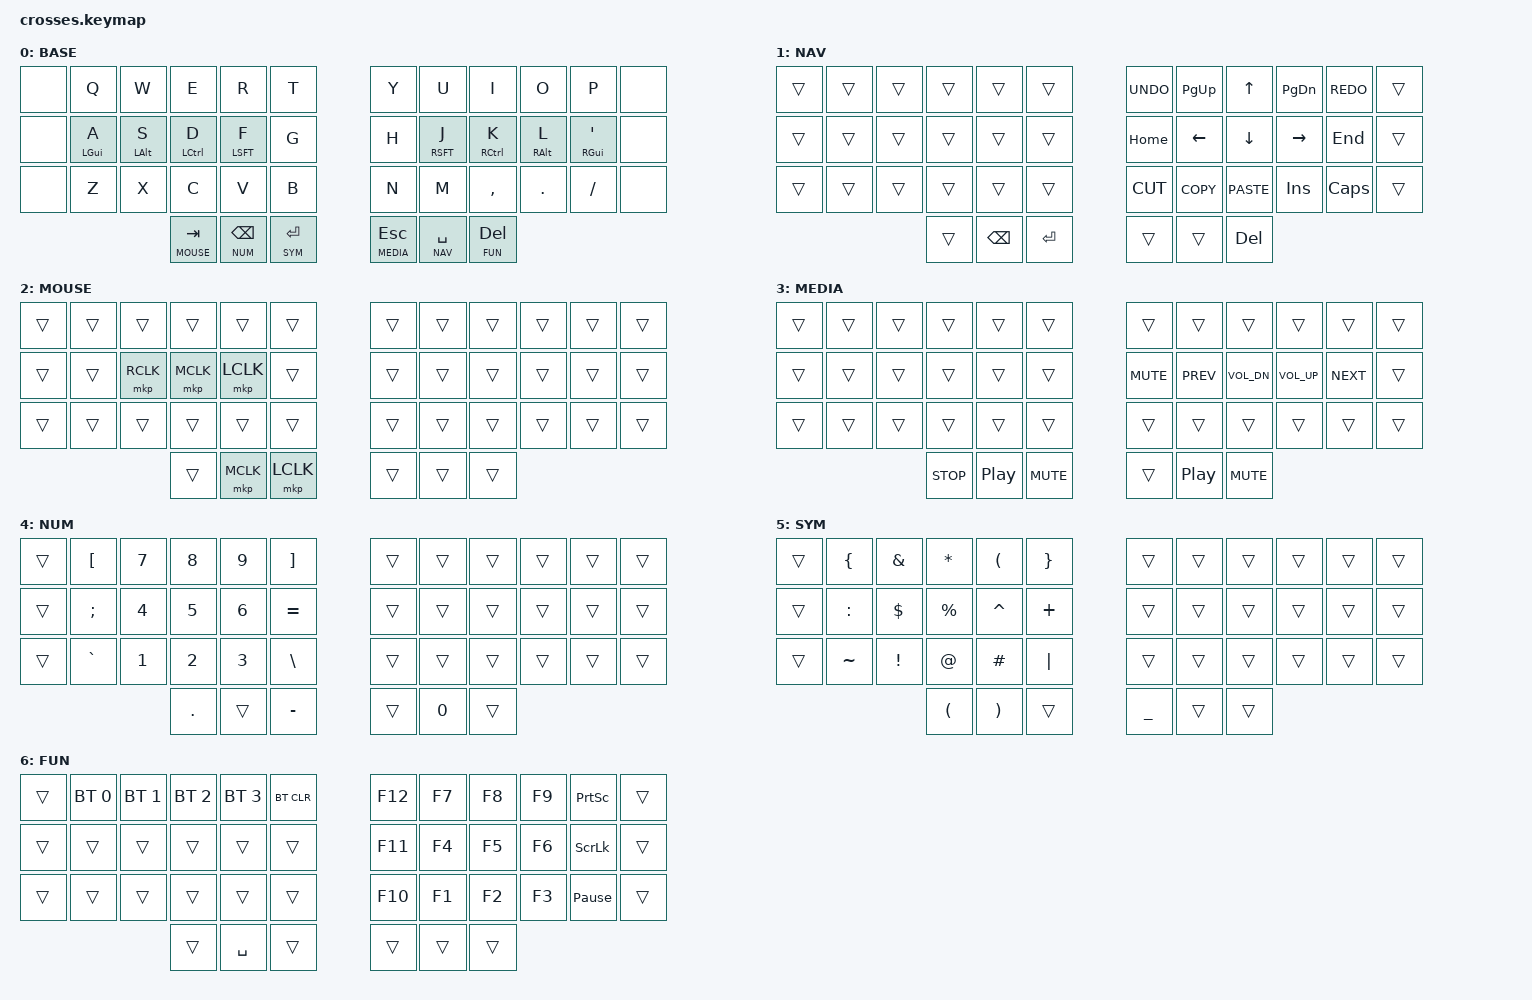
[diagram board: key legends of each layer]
// Miryoku QWERTY FLIP for Crosses 3x6 with right-hand trackball
//
// FLIP means only thumb assignments are swapped vs standard Miryoku:
//   Standard: left thumb → NAV/MOUSE/MEDIA, right thumb → NUM/SYM/FUN
//   FLIP:     RIGHT thumb → NAV/MOUSE/MEDIA, LEFT thumb → NUM/SYM/FUN
// Alpha layout is standard QWERTY (unchanged).
// Layer content sides match standard Miryoku (NAV on right, NUM on left, etc.)
//
// Layer map:
//   0 BASE  – standard QWERTY, GACS home-row mods
//   1 NAV   – RIGHT-hand IJKL arrows/page-nav  (scroll-layers=<1> → trackball scrolls)
//   2 MOUSE – LEFT-hand click buttons           (trackball moves cursor; snipe on this layer)
//   3 MEDIA – RIGHT-hand media controls
//   4 NUM   – LEFT-hand numpad
//   5 SYM   – LEFT-hand symbols
//   6 FUN   – RIGHT-hand F-keys + LEFT-hand BT controls
//
// Thumb assignments (outer → inner):
//   Left:  TAB(MOUSE)  BSPC(NUM)  RET(SYM)
//   Right: ESC(MEDIA)  SPC(NAV)   DEL(FUN)

#include <behaviors.dtsi>
#include <dt-bindings/zmk/bt.h>
#include <dt-bindings/zmk/keys.h>
#include <dt-bindings/zmk/pointing.h>

#define BASE  0
#define NAV   1
#define MOUSE 2
#define MEDIA 3
#define NUM   4
#define SYM   5
#define FUN   6

// Layer-tap for thumb keys
&lt {
    tapping-term-ms = <200>;
    flavor = "balanced";
    quick-tap-ms = <175>;
};

/ {
    behaviors {
        // Home-row mods: slower timing + require prior idle to avoid accidental triggers
        hm: homerow_mods {
            compatible = "zmk,behavior-hold-tap";
            #binding-cells = <2>;
            tapping-term-ms = <280>;
            quick-tap-ms = <175>;
            require-prior-idle-ms = <150>;
            flavor = "balanced";
            bindings = <&kp>, <&kp>;
        };
    };

    keymap {
        compatible = "zmk,keymap";

        // ── BASE ──────────────────────────────────────────────────────────
        // Standard QWERTY with GACS home-row mods
        //
        // ┌──────┬──────┬──────┬──────┬──────┬──────┐  ┌──────┬──────┬──────┬──────┬──────┬──────┐
        // │      │  Q   │  W   │  E   │  R   │  T   │  │  Y   │  U   │  I   │  O   │  P   │      │
        // │      │ A/G  │ S/A  │ D/C  │ F/S  │  G   │  │  H   │ J/S  │ K/C  │ L/A  │ '/G  │      │
        // │      │  Z   │  X   │  C   │  V   │  B   │  │  N   │  M   │  ,   │  .   │  /   │      │
        // └──────┴──────┴──────┼──────┼──────┼──────┤  ├──────┼──────┼──────┼──────┴──────┴──────┘
        //                      │TAB/Mo│BSP/N │RET/S │  │ESC/M │SPC/N │DEL/F │
        //                      └──────┴──────┴──────┘  └──────┴──────┴──────┘
        base_layer {
            label = "BASE";
            bindings = <
&none  &kp Q          &kp W         &kp E          &kp R          &kp T    &kp Y  &kp U          &kp I          &kp O          &kp P           &none
&none  &hm LGUI A     &hm LALT S    &hm LCTRL D    &hm LSFT F     &kp G    &kp H  &hm RSFT J     &hm RCTRL K    &hm RALT L     &hm RGUI APOS   &none
&none  &kp Z          &kp X         &kp C          &kp V          &kp B    &kp N  &kp M          &kp COMMA      &kp DOT        &kp SLASH       &none
                      &lt MOUSE TAB  &lt NUM BSPC  &lt SYM RET           &lt MEDIA ESC  &lt NAV SPC  &lt FUN DEL
            >;
        };

        // ── NAV ── (layer 1 → trackball scrolls!) ─────────────────────────
        // IJKL arrow cluster on RIGHT hand. Right thumb SPC (mid) activates.
        // I = Up, J = Left, K = Down, L = Right.
        // PgUp/PgDn flank Up on the top row; Home/End flank the arrow row.
        // Clipboard + extras on bottom row.
        //
        // ┌──────┬──────┬──────┬──────┬──────┐  ┌──────┬──────┬──────┬──────┬──────┐
        // │      │      │      │      │      │  │ UNDO │ PGUP │  ↑   │ PGDN │ REDO │
        // │      │      │      │      │      │  │ HOME │  ←   │  ↓   │  →   │  END │
        // │      │      │      │      │      │  │ CUT  │ COPY │PASTE │  INS │ CAPS │
        //                [TAB]  BSP   RET        [held] [held]  DEL
        nav_layer {
            label = "NAV";
            bindings = <
&trans  &trans   &trans    &trans    &trans    &trans    &kp K_UNDO  &kp PG_UP   &kp UP      &kp PG_DN    &kp K_REDO  &trans
&trans  &trans   &trans    &trans    &trans    &trans    &kp HOME    &kp LEFT    &kp DOWN    &kp RIGHT    &kp END     &trans
&trans  &trans   &trans    &trans    &trans    &trans    &kp K_CUT   &kp K_COPY  &kp K_PASTE &kp INS      &kp CAPS    &trans
                 &trans    &kp BSPC  &kp RET             &trans      &trans      &kp DEL
            >;
        };

        // ── MOUSE ─────────────────────────────────────────────────────────
        // Trackball handles all movement; left hand S/D/F = RCLK/MCLK/LCLK.
        // Left thumb TAB (outer) activates. Right hand fully transparent.
        // snipe-layers=<2> → precision CPI on this layer.
        //
        // ┌──────┬──────┬──────┬──────┬──────┐  ┌──────┬──────┬──────┬──────┬──────┐
        // │      │      │      │      │      │  │      │      │      │      │      │
        // │      │RCLK  │MCLK  │LCLK  │      │  │      │      │      │      │      │
        // │      │      │      │      │      │  │      │      │      │      │      │
        //         [held] MCLK  LCLK              [trans][trans][trans]
        mouse_layer {
            label = "MOUSE";
            bindings = <
&trans  &trans      &trans      &trans      &trans      &trans    &trans  &trans  &trans  &trans  &trans  &trans
&trans  &trans      &mkp RCLK   &mkp MCLK   &mkp LCLK   &trans    &trans  &trans  &trans  &trans  &trans  &trans
&trans  &trans      &trans      &trans      &trans      &trans    &trans  &trans  &trans  &trans  &trans  &trans
                    &trans      &mkp MCLK   &mkp LCLK             &trans  &trans  &trans
            >;
        };

        // ── MEDIA ─────────────────────────────────────────────────────────
        // Standard Miryoku MEDIA on RIGHT hand.
        // Right thumb ESC (inner) activates.
        media_layer {
            label = "MEDIA";
            bindings = <
&trans  &trans       &trans      &trans       &trans       &trans    &trans      &trans       &trans        &trans        &trans      &trans
&trans  &trans       &trans      &trans       &trans       &trans    &kp C_MUTE  &kp C_PREV   &kp C_VOL_DN  &kp C_VOL_UP  &kp C_NEXT  &trans
&trans  &trans       &trans      &trans       &trans       &trans    &trans      &trans       &trans        &trans        &trans      &trans
                     &kp C_STOP  &kp C_PP     &kp C_MUTE            &trans      &kp C_PP     &kp C_MUTE
            >;
        };

        // ── NUM ───────────────────────────────────────────────────────────
        // Standard Miryoku NUM on LEFT hand (QWERT/ASDFG/ZXCVB positions).
        //   Row0: [  7  8  9  ]
        //   Row1: ;  4  5  6  =
        //   Row2: `  1  2  3  \
        // Left thumb BSPC (mid) activates.
        // Left outer tap = DOT, left inner tap = MINUS, right mid tap = N0.
        num_layer {
            label = "NUM";
            bindings = <
&trans  &kp LBKT   &kp N7   &kp N8   &kp N9   &kp RBKT    &trans  &trans   &trans  &trans  &trans  &trans
&trans  &kp SEMI   &kp N4   &kp N5   &kp N6   &kp EQUAL   &trans  &trans   &trans  &trans  &trans  &trans
&trans  &kp GRAVE  &kp N1   &kp N2   &kp N3   &kp BSLH    &trans  &trans   &trans  &trans  &trans  &trans
                   &kp DOT  &trans   &kp MINUS             &trans  &kp N0   &trans
            >;
        };

        // ── SYM ───────────────────────────────────────────────────────────
        // Standard Miryoku SYM on LEFT hand (shifted numpad equivalents).
        //   Row0: {  &  *  (  }
        //   Row1: :  $  %  ^  +
        //   Row2: ~  !  @  #  |
        // Left thumb RET (inner) activates.
        // Left outer tap = LPAR, left mid tap = RPAR, right inner tap = UNDER.
        sym_layer {
            label = "SYM";
            bindings = <
&trans  &kp LBRC   &kp AMPS   &kp ASTRK  &kp LPAR   &kp RBRC    &trans      &trans  &trans  &trans  &trans  &trans
&trans  &kp COLON  &kp DLLR   &kp PRCNT  &kp CARET  &kp PLUS    &trans      &trans  &trans  &trans  &trans  &trans
&trans  &kp TILDE  &kp EXCL   &kp AT     &kp HASH   &kp PIPE    &trans      &trans  &trans  &trans  &trans  &trans
                   &kp LPAR   &kp RPAR   &trans                  &kp UNDER   &trans  &trans
            >;
        };

        // ── FUN ───────────────────────────────────────────────────────────
        // F-keys on RIGHT hand (YUIOP/HJKL/NM,./ positions).
        // BT controls on LEFT hand top row (QWERT positions).
        // Right thumb DEL (outer) activates.
        //   Right Row0: F12  F7  F8  F9  PSCR
        //   Right Row1: F11  F4  F5  F6  SCRL
        //   Right Row2: F10  F1  F2  F3  PAUS
        //   Left  Row0: BT0  BT1  BT2  BT3  BTCLR
        // Left outer tap = TAB, left mid tap = SPC, right outer = [activator].
        fun_layer {
            label = "FUN";
            bindings = <
&trans  &bt BT_SEL 0  &bt BT_SEL 1  &bt BT_SEL 2  &bt BT_SEL 3  &bt BT_CLR    &kp F12  &kp F7   &kp F8   &kp F9   &kp PSCRN        &trans
&trans  &trans        &trans        &trans        &trans        &trans         &kp F11  &kp F4   &kp F5   &kp F6   &kp SLCK         &trans
&trans  &trans        &trans        &trans        &trans        &trans         &kp F10  &kp F1   &kp F2   &kp F3   &kp PAUSE_BREAK  &trans
                      &trans        &kp SPC       &trans                      &trans   &trans   &trans
            >;
        };

    };
};
